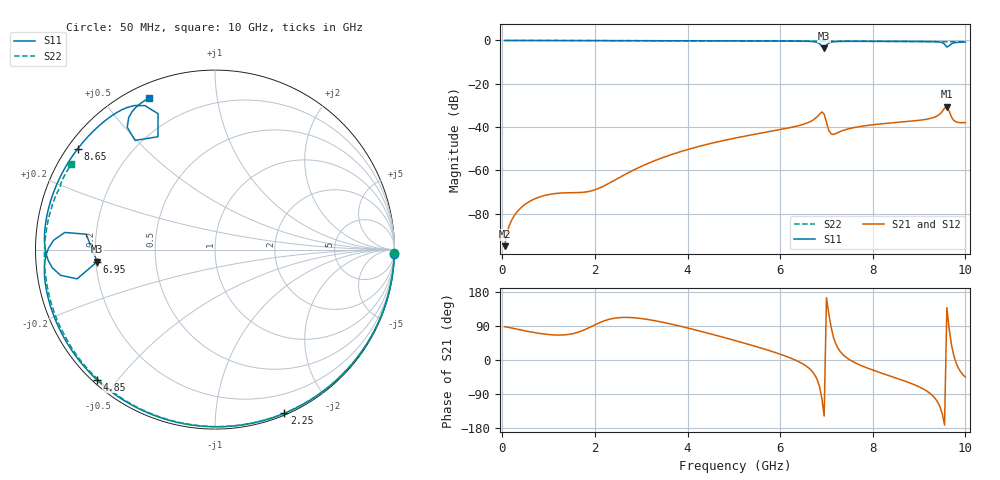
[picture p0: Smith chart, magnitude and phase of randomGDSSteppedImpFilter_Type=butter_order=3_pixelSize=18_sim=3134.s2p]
! freq	dB(S11)	phase(S11)	dB(S12)	phase(S12)
!  dB(S21)	phase(S21)	dB(S22)	phase(S22)
!S-par simulation data
#  GHz  S  DB  R 50
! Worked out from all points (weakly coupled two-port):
!   200 points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, 50 MHz to 10 GHz, reference 50 ohm
!   highest |S21| = -30.55 dB at 9.6 GHz (marker M1); lowest = -95.0 dB at 50 MHz (marker M2)
!   lowest |S11| = -3.6 dB at 6.95 GHz (marker M3), VSWR 4.89, Z = 10.3 - j2.46 ohm
!   |S11| at or under -10 dB: nowhere
!   |S22| runs from -0.6 to 0.0 dB; largest |S21 - S12| = 0
!   S11 on the Smith chart (normalised r, x): 50 MHz: 1, -75; 2.25 GHz: 0.02, -1.51; 4.85 GHz: 0.01, -0.44; 6.95 GHz: 0.21, -0.05; 8.65 GHz: 0.03, +0.33; 10 GHz: 0.06, +0.65
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0.05  -0.00 -1.5  -94.98 88.0  -94.98 88.0  -0.00 -1.2
0.3  -0.02 -9.3  -79.64 81.8  -79.64 81.8  -0.01 -7.3
0.55  -0.02 -17.0  -74.83 75.5  -74.83 75.5  -0.02 -13.4
0.9  -0.03 -27.7  -71.65 68.5  -71.65 68.5  -0.03 -21.9
1.75  -0.07 -52.9  -70.09 78.4  -70.09 78.4  -0.05 -42.1
2.25  -0.08 -67.0  -66.57 105.4  -66.57 105.4  -0.07 -53.7
3.4  -0.12 -97.5  -54.61 101.2  -54.61 101.2  -0.10 -79.1
4.85  -0.18 -132.3  -45.86 57.3  -45.86 57.3  -0.16 -108.9
5.05  -0.19 -136.9  -44.97 50.6  -44.97 50.6  -0.17 -112.9
6.7  -0.52 -178.2  -36.88 -31.3  -36.88 -31.3  -0.27 -144.7
6.85  -1.49 173.5  -34.01 -70.3  -34.01 -70.3  -0.29 -147.6
6.9  -2.81 173.2  -33.01 -101.2  -33.01 -101.2  -0.30 -148.6
6.95  -3.61 -174.1  -34.01 -148.0  -34.01 -148.0  -0.32 -149.5
7.05  -1.19 -170.5  -41.45 122.6  -41.45 122.6  -0.32 -151.3
7.15  -0.63 -176.1  -43.38 60.6  -43.38 60.6  -0.32 -153.2
8.35  -0.43 151.3  -38.17 -41.2  -38.17 -41.2  -0.43 -176.5
8.65  -0.45 143.8  -37.60 -53.7  -37.60 -53.7  -0.46 177.5
9.45  -0.73 119.1  -33.95 -123.1  -33.95 -123.1  -0.57 160.9
9.6  -3.04 116.8  -30.55 138.1  -30.55 138.1  -0.63 158.0
9.65  -2.45 126.2  -32.70 81.6  -32.70 81.6  -0.60 157.1
9.75  -1.12 123.2  -36.91 11.5  -36.91 11.5  -0.58 154.7
10  -0.72 113.5  -37.95 -45.3  -37.95 -45.3  -0.61 149.1
